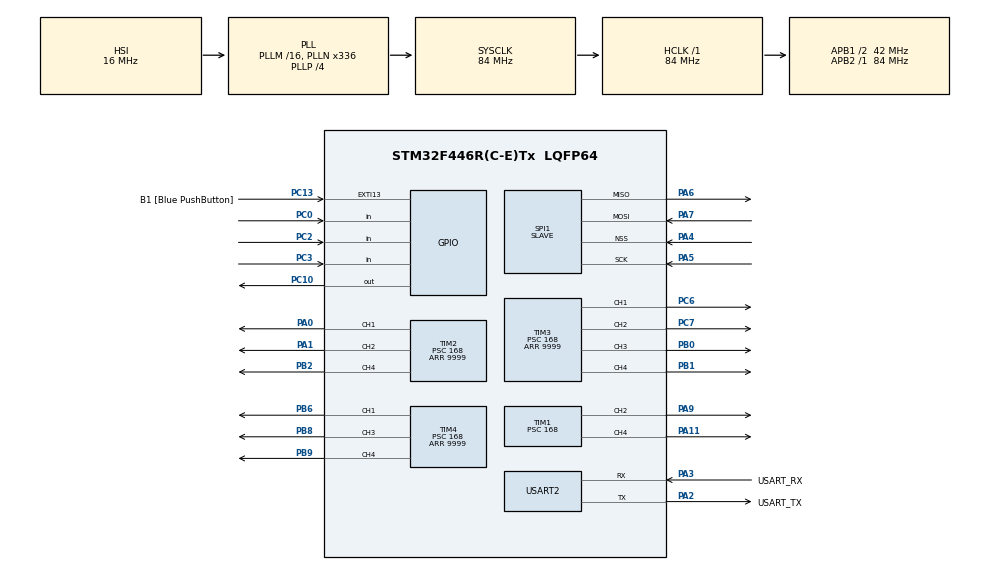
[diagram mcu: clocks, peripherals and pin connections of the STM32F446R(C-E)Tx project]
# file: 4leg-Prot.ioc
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Mcu.Family=STM32F4
Mcu.Name=STM32F446R(C-E)Tx
Mcu.Package=LQFP64
NVIC.PriorityGroup=NVIC_PRIORITYGROUP_0
PA0-WKUP.Signal=S_TIM2_CH1_ETR
PA1.Signal=S_TIM2_CH2
PA11.Signal=S_TIM1_CH4
PA13.GPIO_Label=TMS
PA13.Mode=Serial_Wire
PA13.Signal=SYS_JTMS-SWDIO
PA14.GPIO_Label=TCK
PA14.Mode=Serial_Wire
PA14.Signal=SYS_JTCK-SWCLK
PA2.GPIO_Label=USART_TX
PA2.Mode=Asynchronous
PA2.Signal=USART2_TX
PA3.GPIO_Label=USART_RX
PA3.Mode=Asynchronous
PA3.Signal=USART2_RX
PA4.Mode=NSS_Signal_Hard_Input
PA4.Signal=SPI1_NSS
PA5.Mode=Full_Duplex_Slave
PA5.Signal=SPI1_SCK
PA6.Mode=Full_Duplex_Slave
PA6.Signal=SPI1_MISO
PA7.Mode=Full_Duplex_Slave
PA7.Signal=SPI1_MOSI
PA9.Signal=S_TIM1_CH2
PB0.Signal=S_TIM3_CH3
PB1.Signal=S_TIM3_CH4
PB2.Signal=S_TIM2_CH4
PB3.GPIO_Label=SWO
PB3.Signal=SYS_JTDO-SWO
PB6.Signal=S_TIM4_CH1
PB8.Signal=S_TIM4_CH3
PB9.Signal=S_TIM4_CH4
PC0.GPIO_PuPd=GPIO_PULLUP
PC0.Signal=GPIO_Input
PC10.Signal=GPIO_Output
PC13.GPIO_Label=B1 [Blue PushButton]
PC13.GPIO_ModeDefaultEXTI=GPIO_MODE_IT_FALLING
PC13.GPIO_PuPd=GPIO_PULLUP
PC13.Signal=GPXTI13
PC14-OSC32_IN.Mode=LSE-External-Oscillator
PC14-OSC32_IN.Signal=RCC_OSC32_IN
PC15-OSC32_OUT.Mode=LSE-External-Oscillator
PC15-OSC32_OUT.Signal=RCC_OSC32_OUT
PC2.GPIO_PuPd=GPIO_PULLUP
PC2.Signal=GPIO_Input
PC3.GPIO_PuPd=GPIO_PULLUP
PC3.Signal=GPIO_Input
PC6.Signal=S_TIM3_CH1
PC7.Signal=S_TIM3_CH2
PH0-OSC_IN.Mode=HSE-External-Oscillator
PH0-OSC_IN.Signal=RCC_OSC_IN
PH1-OSC_OUT.Mode=HSE-External-Oscillator
PH1-OSC_OUT.Signal=RCC_OSC_OUT
ProjectManager.HeapSize=0x200
ProjectManager.StackSize=0x400
ProjectManager.TargetToolchain=TrueSTUDIO
RCC.48MHZClocksFreq_Value=84000000
RCC.AHBFreq_Value=84000000
RCC.APB1CLKDivider=RCC_HCLK_DIV2
RCC.APB1Freq_Value=42000000
RCC.APB1TimFreq_Value=84000000
RCC.APB2Freq_Value=84000000
RCC.APB2TimFreq_Value=84000000
RCC.CortexFreq_Value=84000000
RCC.FLatency-AdvancedSettings=FLASH_LATENCY_2
RCC.HCLKFreq_Value=84000000
RCC.HSE_VALUE=8000000
RCC.HSI_VALUE=16000000
RCC.PLLN=336
RCC.PLLP=RCC_PLLP_DIV4
RCC.SYSCLKFreq_VALUE=84000000
RCC.SYSCLKSource=RCC_SYSCLKSOURCE_PLLCLK
RCC.USBFreq_Value=168000000
RCC.VCOOutputFreq_Value=336000000
SH.S_TIM1_CH2.0=TIM1_CH2,PWM Generation2 CH2
SH.S_TIM1_CH4.0=TIM1_CH4,PWM Generation4 CH4
SH.S_TIM2_CH1_ETR.0=TIM2_CH1,PWM Generation1 CH1
SH.S_TIM2_CH2.0=TIM2_CH2,PWM Generation2 CH2
SH.S_TIM2_CH4.0=TIM2_CH4,PWM Generation4 CH4
SH.S_TIM3_CH1.0=TIM3_CH1,PWM Generation1 CH1
SH.S_TIM3_CH2.0=TIM3_CH2,PWM Generation2 CH2
SH.S_TIM3_CH3.0=TIM3_CH3,PWM Generation3 CH3
SH.S_TIM3_CH4.0=TIM3_CH4,PWM Generation4 CH4
SH.S_TIM4_CH1.0=TIM4_CH1,PWM Generation1 CH1
SH.S_TIM4_CH3.0=TIM4_CH3,PWM Generation3 CH3
SH.S_TIM4_CH4.0=TIM4_CH4,PWM Generation4 CH4
SPI1.Direction=SPI_DIRECTION_2LINES
SPI1.Mode=SPI_MODE_SLAVE
SPI1.VirtualNSS=VM_NSSHARD
SPI1.VirtualType=VM_SLAVE
TIM1.Channel-PWM\ Generation2\ CH2=TIM_CHANNEL_2
TIM1.Channel-PWM\ Generation4\ CH4=TIM_CHANNEL_4
TIM1.Period=9999
TIM1.Prescaler=168
TIM2.Channel-PWM\ Generation1\ CH1=TIM_CHANNEL_1
TIM2.Channel-PWM\ Generation2\ CH2=TIM_CHANNEL_2
TIM2.Channel-PWM\ Generation4\ CH4=TIM_CHANNEL_4
TIM2.Period=9999
TIM2.Prescaler=168
TIM3.Channel-PWM\ Generation1\ CH1=TIM_CHANNEL_1
TIM3.Channel-PWM\ Generation2\ CH2=TIM_CHANNEL_2
TIM3.Channel-PWM\ Generation3\ CH3=TIM_CHANNEL_3
TIM3.Channel-PWM\ Generation4\ CH4=TIM_CHANNEL_4
TIM3.Period=9999
TIM3.Prescaler=168
TIM4.Channel-PWM\ Generation1\ CH1=TIM_CHANNEL_1
TIM4.Channel-PWM\ Generation3\ CH3=TIM_CHANNEL_3
TIM4.Channel-PWM\ Generation4\ CH4=TIM_CHANNEL_4
TIM4.Period=9999
TIM4.Prescaler=168
USART2.VirtualMode=VM_ASYNC
board=NUCLEO-F446RE

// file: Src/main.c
/**
  ******************************************************************************
  * @file           : main.c
  * @brief          : Main program body
  ******************************************************************************
  ** This notice applies to any and all portions of this file
  * that are not between comment pairs USER CODE BEGIN and
  * USER CODE END. Other portions of this file, whether
  * inserted by the user or by software development tools
  * are owned by their respective copyright owners.
  *
  * COPYRIGHT(c) 2018 STMicroelectronics
  *
  * Redistribution and use in source and binary forms, with or without modification,
  * are permitted provided that the following conditions are met:
  *   1. Redistributions of source code must retain the above copyright notice,
  *      this list of conditions and the following disclaimer.
  *   2. Redistributions in binary form must reproduce the above copyright notice,
  *      this list of conditions and the following disclaimer in the documentation
  *      and/or other materials provided with the distribution.
  *   3. Neither the name of STMicroelectronics nor the names of its contributors
  *      may be used to endorse or promote products derived from this software
  *      without specific prior written permission.
  *
  * THIS SOFTWARE IS PROVIDED BY THE COPYRIGHT HOLDERS AND CONTRIBUTORS "AS IS"
  * AND ANY EXPRESS OR IMPLIED WARRANTIES, INCLUDING, BUT NOT LIMITED TO, THE
  * IMPLIED WARRANTIES OF MERCHANTABILITY AND FITNESS FOR A PARTICULAR PURPOSE ARE
  * DISCLAIMED. IN NO EVENT SHALL THE COPYRIGHT HOLDER OR CONTRIBUTORS BE LIABLE
  * FOR ANY DIRECT, INDIRECT, INCIDENTAL, SPECIAL, EXEMPLARY, OR CONSEQUENTIAL
  * DAMAGES (INCLUDING, BUT NOT LIMITED TO, PROCUREMENT OF SUBSTITUTE GOODS OR
  * SERVICES; LOSS OF USE, DATA, OR PROFITS; OR BUSINESS INTERRUPTION) HOWEVER
  * CAUSED AND ON ANY THEORY OF LIABILITY, WHETHER IN CONTRACT, STRICT LIABILITY,
  * OR TORT (INCLUDING NEGLIGENCE OR OTHERWISE) ARISING IN ANY WAY OUT OF THE USE
  * OF THIS SOFTWARE, EVEN IF ADVISED OF THE POSSIBILITY OF SUCH DAMAGE.
  *
  ******************************************************************************
  */
#include "main.h"
#include "stm32f4xx_hal.h"

SPI_HandleTypeDef hspi1;

TIM_HandleTypeDef htim1;
TIM_HandleTypeDef htim2;
TIM_HandleTypeDef htim3;
TIM_HandleTypeDef htim4;

UART_HandleTypeDef huart2;

/* USER CODE BEGIN PV */
/* Private variables ---------------------------------------------------------*/

/* USER CODE END PV */

void SystemClock_Config(void);
static void MX_GPIO_Init(void);
static void MX_USART2_UART_Init(void);
static void MX_SPI1_Init(void);
static void MX_TIM1_Init(void);
static void MX_TIM2_Init(void);
static void MX_TIM3_Init(void);
static void MX_TIM4_Init(void);

void HAL_TIM_MspPostInit(TIM_HandleTypeDef *htim);

/* USER CODE BEGIN PFP */
/* Private function prototypes -----------------------------------------------*/

/* USER CODE END PFP */

/* USER CODE BEGIN 0 */
TIM_MasterConfigTypeDef sMasterConfig;
TIM_OC_InitTypeDef sConfigOC;
/* USER CODE END 0 */

int main(void)
{

  /* MCU Configuration----------------------------------------------------------*/

  /* Reset of all peripherals, Initializes the Flash interface and the Systick. */
  HAL_Init();

  /* Configure the system clock */
  SystemClock_Config();

  /* Initialize all configured peripherals */

  MX_GPIO_Init();
  MX_USART2_UART_Init();
  MX_SPI1_Init();
  MX_TIM1_Init();
  MX_TIM2_Init();
  MX_TIM3_Init();
  MX_TIM4_Init();

  /* USER CODE BEGIN 2 */

  HAL_TIM_PWM_Start(&htim1,TIM_CHANNEL_2);
  HAL_TIM_PWM_Start(&htim1,TIM_CHANNEL_4);
  HAL_TIM_PWM_Start(&htim2,TIM_CHANNEL_1);
  HAL_TIM_PWM_Start(&htim2,TIM_CHANNEL_2);
  HAL_TIM_PWM_Start(&htim2,TIM_CHANNEL_4);
  HAL_TIM_PWM_Start(&htim3,TIM_CHANNEL_1);
  HAL_TIM_PWM_Start(&htim3,TIM_CHANNEL_2);
  HAL_TIM_PWM_Start(&htim3,TIM_CHANNEL_3);
  HAL_TIM_PWM_Start(&htim3,TIM_CHANNEL_4);
  HAL_TIM_PWM_Start(&htim4,TIM_CHANNEL_1);
  HAL_TIM_PWM_Start(&htim4,TIM_CHANNEL_3);
  HAL_TIM_PWM_Start(&htim4,TIM_CHANNEL_4);

  /* USER CODE END 2 */

  /* Infinite loop */
  while (1){

  /* USER CODE BEGIN 3 */

	  if(HAL_GPIO_ReadPin(GPIOC,GPIO_PIN_0) == 0 || HAL_GPIO_ReadPin(GPIOC,GPIO_PIN_2) == 0 || HAL_GPIO_ReadPin(GPIOC,GPIO_PIN_3) == 0){
		  HAL_GPIO_WritePin(GPIOC,GPIO_PIN_10,1);
	  }else{
		  HAL_GPIO_WritePin(GPIOC,GPIO_PIN_10,0);

	  }

	  float p = 750;
	  __HAL_TIM_SetCompare(&htim1,TIM_CHANNEL_2,p);//FL3
	  __HAL_TIM_SetCompare(&htim1,TIM_CHANNEL_4,p);//BL3
	  __HAL_TIM_SetCompare(&htim2,TIM_CHANNEL_1,p);//BR3
	  __HAL_TIM_SetCompare(&htim2,TIM_CHANNEL_2,p);//BR2
	  __HAL_TIM_SetCompare(&htim2,TIM_CHANNEL_4,p);//BL2
	  __HAL_TIM_SetCompare(&htim3,TIM_CHANNEL_1,p);//FR2
	  __HAL_TIM_SetCompare(&htim3,TIM_CHANNEL_2,p);//FL1
	  __HAL_TIM_SetCompare(&htim3,TIM_CHANNEL_3,p);//BR1
	  __HAL_TIM_SetCompare(&htim3,TIM_CHANNEL_4,p);//BL1
	  __HAL_TIM_SetCompare(&htim4,TIM_CHANNEL_1,p);//FL2
	  __HAL_TIM_SetCompare(&htim4,TIM_CHANNEL_3,p);//FR1
	  __HAL_TIM_SetCompare(&htim4,TIM_CHANNEL_4,p);//FR3

	  float p = 750;

  }
  /* USER CODE END 3 */

}

void SystemClock_Config(void)
{

  RCC_OscInitTypeDef RCC_OscInitStruct;
  RCC_ClkInitTypeDef RCC_ClkInitStruct;

    /**Configure the main internal regulator output voltage
    */
  __HAL_RCC_PWR_CLK_ENABLE();

  __HAL_PWR_VOLTAGESCALING_CONFIG(PWR_REGULATOR_VOLTAGE_SCALE3);

    /**Initializes the CPU, AHB and APB busses clocks
    */
  RCC_OscInitStruct.OscillatorType = RCC_OSCILLATORTYPE_HSI;
  RCC_OscInitStruct.HSIState = RCC_HSI_ON;
  RCC_OscInitStruct.HSICalibrationValue = 16;
  RCC_OscInitStruct.PLL.PLLState = RCC_PLL_ON;
  RCC_OscInitStruct.PLL.PLLSource = RCC_PLLSOURCE_HSI;
  RCC_OscInitStruct.PLL.PLLM = 16;
  RCC_OscInitStruct.PLL.PLLN = 336;
  RCC_OscInitStruct.PLL.PLLP = RCC_PLLP_DIV4;
  RCC_OscInitStruct.PLL.PLLQ = 2;
  RCC_OscInitStruct.PLL.PLLR = 2;
  if (HAL_RCC_OscConfig(&RCC_OscInitStruct) != HAL_OK)
  {
    _Error_Handler(__FILE__, __LINE__);
  }

    /**Initializes the CPU, AHB and APB busses clocks
    */
  RCC_ClkInitStruct.ClockType = RCC_CLOCKTYPE_HCLK|RCC_CLOCKTYPE_SYSCLK
                              |RCC_CLOCKTYPE_PCLK1|RCC_CLOCKTYPE_PCLK2;
  RCC_ClkInitStruct.SYSCLKSource = RCC_SYSCLKSOURCE_PLLCLK;
  RCC_ClkInitStruct.AHBCLKDivider = RCC_SYSCLK_DIV1;
  RCC_ClkInitStruct.APB1CLKDivider = RCC_HCLK_DIV2;
  RCC_ClkInitStruct.APB2CLKDivider = RCC_HCLK_DIV1;

  if (HAL_RCC_ClockConfig(&RCC_ClkInitStruct, FLASH_LATENCY_2) != HAL_OK)
  {
    _Error_Handler(__FILE__, __LINE__);
  }

    /**Configure the Systick interrupt time
    */
  HAL_SYSTICK_Config(HAL_RCC_GetHCLKFreq()/1000);

    /**Configure the Systick
    */
  HAL_SYSTICK_CLKSourceConfig(SYSTICK_CLKSOURCE_HCLK);

  /* SysTick_IRQn interrupt configuration */
  HAL_NVIC_SetPriority(SysTick_IRQn, 0, 0);
}

/* SPI1 init function */
static void MX_SPI1_Init(void)
{

  /* SPI1 parameter configuration*/
  hspi1.Instance = SPI1;
  hspi1.Init.Mode = SPI_MODE_SLAVE;
  hspi1.Init.Direction = SPI_DIRECTION_2LINES;
  hspi1.Init.DataSize = SPI_DATASIZE_8BIT;
  hspi1.Init.CLKPolarity = SPI_POLARITY_LOW;
  hspi1.Init.CLKPhase = SPI_PHASE_1EDGE;
  hspi1.Init.NSS = SPI_NSS_HARD_INPUT;
  hspi1.Init.FirstBit = SPI_FIRSTBIT_MSB;
  hspi1.Init.TIMode = SPI_TIMODE_DISABLE;
  hspi1.Init.CRCCalculation = SPI_CRCCALCULATION_DISABLE;
  hspi1.Init.CRCPolynomial = 10;
  if (HAL_SPI_Init(&hspi1) != HAL_OK)
  {
    _Error_Handler(__FILE__, __LINE__);
  }

}

/* TIM1 init function */
static void MX_TIM1_Init(void)
{

  TIM_MasterConfigTypeDef sMasterConfig;
  TIM_OC_InitTypeDef sConfigOC;
  TIM_BreakDeadTimeConfigTypeDef sBreakDeadTimeConfig;

  htim1.Instance = TIM1;
  htim1.Init.Prescaler = 168;
  htim1.Init.CounterMode = TIM_COUNTERMODE_UP;
  htim1.Init.Period = 9999;
  htim1.Init.ClockDivision = TIM_CLOCKDIVISION_DIV1;
  htim1.Init.RepetitionCounter = 0;
  if (HAL_TIM_PWM_Init(&htim1) != HAL_OK)
  {
    _Error_Handler(__FILE__, __LINE__);
  }

  sMasterConfig.MasterOutputTrigger = TIM_TRGO_RESET;
  sMasterConfig.MasterSlaveMode = TIM_MASTERSLAVEMODE_DISABLE;
  if (HAL_TIMEx_MasterConfigSynchronization(&htim1, &sMasterConfig) != HAL_OK)
  {
    _Error_Handler(__FILE__, __LINE__);
  }

  sConfigOC.OCMode = TIM_OCMODE_PWM1;
  sConfigOC.Pulse = 0;
  sConfigOC.OCPolarity = TIM_OCPOLARITY_HIGH;
  sConfigOC.OCNPolarity = TIM_OCNPOLARITY_HIGH;
  sConfigOC.OCFastMode = TIM_OCFAST_DISABLE;
  sConfigOC.OCIdleState = TIM_OCIDLESTATE_RESET;
  sConfigOC.OCNIdleState = TIM_OCNIDLESTATE_RESET;
  if (HAL_TIM_PWM_ConfigChannel(&htim1, &sConfigOC, TIM_CHANNEL_2) != HAL_OK)
  {
    _Error_Handler(__FILE__, __LINE__);
  }

  if (HAL_TIM_PWM_ConfigChannel(&htim1, &sConfigOC, TIM_CHANNEL_4) != HAL_OK)
  {
    _Error_Handler(__FILE__, __LINE__);
  }

  sBreakDeadTimeConfig.OffStateRunMode = TIM_OSSR_DISABLE;
  sBreakDeadTimeConfig.OffStateIDLEMode = TIM_OSSI_DISABLE;
  sBreakDeadTimeConfig.LockLevel = TIM_LOCKLEVEL_OFF;
  sBreakDeadTimeConfig.DeadTime = 0;
  sBreakDeadTimeConfig.BreakState = TIM_BREAK_DISABLE;
  sBreakDeadTimeConfig.BreakPolarity = TIM_BREAKPOLARITY_HIGH;
  sBreakDeadTimeConfig.AutomaticOutput = TIM_AUTOMATICOUTPUT_DISABLE;
  if (HAL_TIMEx_ConfigBreakDeadTime(&htim1, &sBreakDeadTimeConfig) != HAL_OK)
  {
    _Error_Handler(__FILE__, __LINE__);
  }

  HAL_TIM_MspPostInit(&htim1);

}

/* TIM2 init function */
static void MX_TIM2_Init(void)
{

  TIM_MasterConfigTypeDef sMasterConfig;
  TIM_OC_InitTypeDef sConfigOC;

  htim2.Instance = TIM2;
  htim2.Init.Prescaler = 168;
  htim2.Init.CounterMode = TIM_COUNTERMODE_UP;
  htim2.Init.Period = 9999;
  htim2.Init.ClockDivision = TIM_CLOCKDIVISION_DIV1;
  if (HAL_TIM_PWM_Init(&htim2) != HAL_OK)
  {
    _Error_Handler(__FILE__, __LINE__);
  }

  sMasterConfig.MasterOutputTrigger = TIM_TRGO_RESET;
  sMasterConfig.MasterSlaveMode = TIM_MASTERSLAVEMODE_DISABLE;
  if (HAL_TIMEx_MasterConfigSynchronization(&htim2, &sMasterConfig) != HAL_OK)
  {
    _Error_Handler(__FILE__, __LINE__);
  }

  sConfigOC.OCMode = TIM_OCMODE_PWM1;
  sConfigOC.Pulse = 0;
  sConfigOC.OCPolarity = TIM_OCPOLARITY_HIGH;
  sConfigOC.OCFastMode = TIM_OCFAST_DISABLE;
  if (HAL_TIM_PWM_ConfigChannel(&htim2, &sConfigOC, TIM_CHANNEL_1) != HAL_OK)
  {
    _Error_Handler(__FILE__, __LINE__);
  }

  if (HAL_TIM_PWM_ConfigChannel(&htim2, &sConfigOC, TIM_CHANNEL_2) != HAL_OK)
  {
    _Error_Handler(__FILE__, __LINE__);
  }

  if (HAL_TIM_PWM_ConfigChannel(&htim2, &sConfigOC, TIM_CHANNEL_4) != HAL_OK)
  {
    _Error_Handler(__FILE__, __LINE__);
  }

  HAL_TIM_MspPostInit(&htim2);

}

/* TIM3 init function */
static void MX_TIM3_Init(void)
{

  TIM_MasterConfigTypeDef sMasterConfig;
  TIM_OC_InitTypeDef sConfigOC;

  htim3.Instance = TIM3;
  htim3.Init.Prescaler = 168;
  htim3.Init.CounterMode = TIM_COUNTERMODE_UP;
  htim3.Init.Period = 9999;
  htim3.Init.ClockDivision = TIM_CLOCKDIVISION_DIV1;
  if (HAL_TIM_PWM_Init(&htim3) != HAL_OK)
  {
    _Error_Handler(__FILE__, __LINE__);
  }

  sMasterConfig.MasterOutputTrigger = TIM_TRGO_RESET;
  sMasterConfig.MasterSlaveMode = TIM_MASTERSLAVEMODE_DISABLE;
  if (HAL_TIMEx_MasterConfigSynchronization(&htim3, &sMasterConfig) != HAL_OK)
  {
    _Error_Handler(__FILE__, __LINE__);
  }

  sConfigOC.OCMode = TIM_OCMODE_PWM1;
  sConfigOC.Pulse = 0;
  sConfigOC.OCPolarity = TIM_OCPOLARITY_HIGH;
  sConfigOC.OCFastMode = TIM_OCFAST_DISABLE;
  if (HAL_TIM_PWM_ConfigChannel(&htim3, &sConfigOC, TIM_CHANNEL_1) != HAL_OK)
  {
    _Error_Handler(__FILE__, __LINE__);
  }

  if (HAL_TIM_PWM_ConfigChannel(&htim3, &sConfigOC, TIM_CHANNEL_2) != HAL_OK)
  {
    _Error_Handler(__FILE__, __LINE__);
  }

  if (HAL_TIM_PWM_ConfigChannel(&htim3, &sConfigOC, TIM_CHANNEL_3) != HAL_OK)
  {
    _Error_Handler(__FILE__, __LINE__);
  }

  if (HAL_TIM_PWM_ConfigChannel(&htim3, &sConfigOC, TIM_CHANNEL_4) != HAL_OK)
  {
    _Error_Handler(__FILE__, __LINE__);
  }

  HAL_TIM_MspPostInit(&htim3);

}

/* TIM4 init function */
static void MX_TIM4_Init(void)
{

  TIM_MasterConfigTypeDef sMasterConfig;
  TIM_OC_InitTypeDef sConfigOC;

  htim4.Instance = TIM4;
  htim4.Init.Prescaler = 168;
  htim4.Init.CounterMode = TIM_COUNTERMODE_UP;
  htim4.Init.Period = 9999;
  htim4.Init.ClockDivision = TIM_CLOCKDIVISION_DIV1;
  if (HAL_TIM_PWM_Init(&htim4) != HAL_OK)
  {
    _Error_Handler(__FILE__, __LINE__);
  }

  sMasterConfig.MasterOutputTrigger = TIM_TRGO_RESET;
  sMasterConfig.MasterSlaveMode = TIM_MASTERSLAVEMODE_DISABLE;
  if (HAL_TIMEx_MasterConfigSynchronization(&htim4, &sMasterConfig) != HAL_OK)
  {
    _Error_Handler(__FILE__, __LINE__);
  }

  sConfigOC.OCMode = TIM_OCMODE_PWM1;
  sConfigOC.Pulse = 0;
  sConfigOC.OCPolarity = TIM_OCPOLARITY_HIGH;
  sConfigOC.OCFastMode = TIM_OCFAST_DISABLE;
  if (HAL_TIM_PWM_ConfigChannel(&htim4, &sConfigOC, TIM_CHANNEL_1) != HAL_OK)
  {
    _Error_Handler(__FILE__, __LINE__);
  }

  if (HAL_TIM_PWM_ConfigChannel(&htim4, &sConfigOC, TIM_CHANNEL_3) != HAL_OK)
  {
    _Error_Handler(__FILE__, __LINE__);
  }

  if (HAL_TIM_PWM_ConfigChannel(&htim4, &sConfigOC, TIM_CHANNEL_4) != HAL_OK)
  {
    _Error_Handler(__FILE__, __LINE__);
  }

  HAL_TIM_MspPostInit(&htim4);

}

/* USART2 init function */
static void MX_USART2_UART_Init(void)
{

  huart2.Instance = USART2;
  huart2.Init.BaudRate = 115200;
  huart2.Init.WordLength = UART_WORDLENGTH_8B;
  huart2.Init.StopBits = UART_STOPBITS_1;
  huart2.Init.Parity = UART_PARITY_NONE;
  huart2.Init.Mode = UART_MODE_TX_RX;
  huart2.Init.HwFlowCtl = UART_HWCONTROL_NONE;
  huart2.Init.OverSampling = UART_OVERSAMPLING_16;
  if (HAL_UART_Init(&huart2) != HAL_OK)
  {
    _Error_Handler(__FILE__, __LINE__);
  }

}

/** Configure pins as
        * Analog
        * Input
        * Output
        * EVENT_OUT
        * EXTI
*/
static void MX_GPIO_Init(void)
{

  GPIO_InitTypeDef GPIO_InitStruct;

  /* GPIO Ports Clock Enable */
  __HAL_RCC_GPIOC_CLK_ENABLE();
  __HAL_RCC_GPIOH_CLK_ENABLE();
  __HAL_RCC_GPIOA_CLK_ENABLE();
  __HAL_RCC_GPIOB_CLK_ENABLE();

  /*Configure GPIO pin Output Level */
  HAL_GPIO_WritePin(GPIOC, GPIO_PIN_10, GPIO_PIN_RESET);

  /*Configure GPIO pin : B1_Pin */
  GPIO_InitStruct.Pin = B1_Pin;
  GPIO_InitStruct.Mode = GPIO_MODE_IT_FALLING;
  GPIO_InitStruct.Pull = GPIO_PULLUP;
  HAL_GPIO_Init(B1_GPIO_Port, &GPIO_InitStruct);

  /*Configure GPIO pins : PC0 PC2 PC3 */
  GPIO_InitStruct.Pin = GPIO_PIN_0|GPIO_PIN_2|GPIO_PIN_3;
  GPIO_InitStruct.Mode = GPIO_MODE_INPUT;
  GPIO_InitStruct.Pull = GPIO_PULLUP;
  HAL_GPIO_Init(GPIOC, &GPIO_InitStruct);

  /*Configure GPIO pin : PC10 */
  GPIO_InitStruct.Pin = GPIO_PIN_10;
  GPIO_InitStruct.Mode = GPIO_MODE_OUTPUT_PP;
  GPIO_InitStruct.Pull = GPIO_NOPULL;
  GPIO_InitStruct.Speed = GPIO_SPEED_FREQ_LOW;
  HAL_GPIO_Init(GPIOC, &GPIO_InitStruct);

}

void _Error_Handler(char *file, int line)
{
  while(1)
  {
  }
}

/************************ (C) COPYRIGHT STMicroelectronics *****END OF FILE****/
